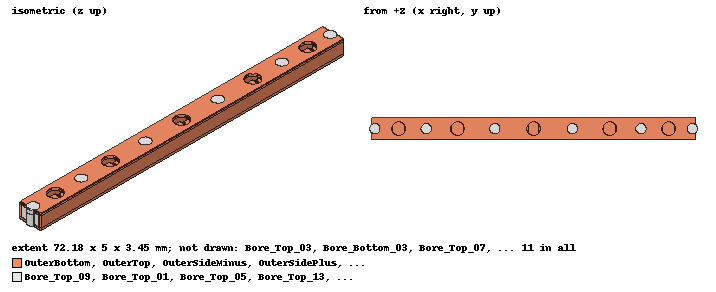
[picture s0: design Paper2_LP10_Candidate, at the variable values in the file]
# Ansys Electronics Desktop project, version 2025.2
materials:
  vacuum: permittivity=1
  copper: permeability=0.999991 conductivity=58000000
  air: permittivity=1.0006 permeability=1.0000004
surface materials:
  Steel-oxidised-surface

design Paper2_LP10_Candidate (HFSS, HFSS Modal Network, model units mm)
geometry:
  OuterBottom [copper] = box(corner=(0mm, -2.5mm, -1.725mm), size=(71.307mm, 5mm, 0.5mm))
  OuterTop [copper] = box(corner=(0mm, -2.5mm, 1.225mm), size=(71.307mm, 5mm, 0.5mm))
  OuterSideMinus [copper] = box(corner=(0mm, -2.5mm, -1.225mm), size=(71.307mm, 0.5mm, 2.45mm))
  OuterSidePlus [copper] = box(corner=(0mm, 2mm, -1.225mm), size=(71.307mm, 0.5mm, 2.45mm))
  CenterSection_01 [copper] = box(corner=(0mm, -1.5mm, -0.15mm), size=(1.431mm, 3mm, 0.3mm))
  CenterSection_02 [copper] = box(corner=(1.431mm, -0.75mm, -0.4mm), size=(3.105mm, 1.5mm, 0.8mm))
  CenterSection_03 [copper] = box(corner=(4.536mm, -1.5mm, -0.15mm), size=(2.7675mm, 3mm, 0.3mm))
  CenterSection_04 [copper] = box(corner=(7.3035mm, -0.75mm, -0.4mm), size=(3.429mm, 1.5mm, 0.8mm))
  CenterSection_05 [copper] = box(corner=(10.7325mm, -1.5mm, -0.15mm), size=(2.5785mm, 3mm, 0.3mm))
  CenterSection_06 [copper] = box(corner=(13.311mm, -0.75mm, -0.4mm), size=(4.266mm, 1.5mm, 0.8mm))
  CenterSection_07 [copper] = box(corner=(17.577mm, -1.5mm, -0.15mm), size=(2.5785mm, 3mm, 0.3mm))
  CenterSection_08 [copper] = box(corner=(20.1555mm, -0.75mm, -0.4mm), size=(5.778mm, 1.5mm, 0.8mm))
  CenterSection_09 [copper] = box(corner=(25.9335mm, -1.5mm, -0.15mm), size=(2.3895mm, 3mm, 0.3mm))
  CenterSection_10 [copper] = box(corner=(28.323mm, -0.75mm, -0.4mm), size=(6.2505mm, 1.5mm, 0.8mm))
  CenterSection_11 [copper] = box(corner=(34.5735mm, -1.5mm, -0.15mm), size=(2.16mm, 3mm, 0.3mm))
  CenterSection_12 [copper] = box(corner=(36.7335mm, -0.75mm, -0.4mm), size=(6.2505mm, 1.5mm, 0.8mm))
  CenterSection_13 [copper] = box(corner=(42.984mm, -1.5mm, -0.15mm), size=(2.3895mm, 3mm, 0.3mm))
  CenterSection_14 [copper] = box(corner=(45.3735mm, -0.75mm, -0.4mm), size=(5.778mm, 1.5mm, 0.8mm))
  CenterSection_15 [copper] = box(corner=(51.1515mm, -1.5mm, -0.15mm), size=(2.5785mm, 3mm, 0.3mm))
  CenterSection_16 [copper] = box(corner=(53.73mm, -0.75mm, -0.4mm), size=(4.266mm, 1.5mm, 0.8mm))
  CenterSection_17 [copper] = box(corner=(57.996mm, -1.5mm, -0.15mm), size=(2.5785mm, 3mm, 0.3mm))
  CenterSection_18 [copper] = box(corner=(60.5745mm, -0.75mm, -0.4mm), size=(3.429mm, 1.5mm, 0.8mm))
  CenterSection_19 [copper] = box(corner=(64.0035mm, -1.5mm, -0.15mm), size=(2.7675mm, 3mm, 0.3mm))
  CenterSection_20 [copper] = box(corner=(66.771mm, -0.75mm, -0.4mm), size=(3.105mm, 1.5mm, 0.8mm))
  CenterSection_21 [copper] = box(corner=(69.876mm, -1.5mm, -0.15mm), size=(1.431mm, 3mm, 0.3mm))
  Bore_Top_01 [air] = cylinder(axis=Z, base_centre=(0.7155mm, 0mm, -0.775mm), radius=1.15mm, height=2.5mm)
  Bore_Bottom_01 [air] = cylinder(axis=Z, base_centre=(0.7155mm, 0mm, -1.725mm), radius=1.15mm, height=2.5mm)
  Bore_Top_03 [air] = cylinder(axis=Z, base_centre=(5.91975mm, 0mm, -0.775mm), radius=1.5mm, height=2.5mm)
  Bore_Bottom_03 [air] = cylinder(axis=Z, base_centre=(5.91975mm, 0mm, -1.725mm), radius=1.5mm, height=2.5mm)
  Bore_Top_05 [air] = cylinder(axis=Z, base_centre=(12.02175mm, 0mm, -0.775mm), radius=1.15mm, height=2.5mm)
  Bore_Bottom_05 [air] = cylinder(axis=Z, base_centre=(12.02175mm, 0mm, -1.725mm), radius=1.15mm, height=2.5mm)
  Bore_Top_07 [air] = cylinder(axis=Z, base_centre=(18.86625mm, 0mm, -0.775mm), radius=1.5mm, height=2.5mm)
  Bore_Bottom_07 [air] = cylinder(axis=Z, base_centre=(18.86625mm, 0mm, -1.725mm), radius=1.5mm, height=2.5mm)
  Bore_Top_09 [air] = cylinder(axis=Z, base_centre=(27.12825mm, 0mm, -0.775mm), radius=1.15mm, height=2.5mm)
  Bore_Bottom_09 [air] = cylinder(axis=Z, base_centre=(27.12825mm, 0mm, -1.725mm), radius=1.15mm, height=2.5mm)
  Bore_Top_11 [air] = cylinder(axis=Z, base_centre=(35.6535mm, 0mm, -0.775mm), radius=1.5mm, height=2.5mm)
  Bore_Bottom_11 [air] = cylinder(axis=Z, base_centre=(35.6535mm, 0mm, -1.725mm), radius=1.5mm, height=2.5mm)
  Bore_Top_13 [air] = cylinder(axis=Z, base_centre=(44.17875mm, 0mm, -0.775mm), radius=1.15mm, height=2.5mm)
  Bore_Bottom_13 [air] = cylinder(axis=Z, base_centre=(44.17875mm, 0mm, -1.725mm), radius=1.15mm, height=2.5mm)
  Bore_Top_15 [air] = cylinder(axis=Z, base_centre=(52.44075mm, 0mm, -0.775mm), radius=1.5mm, height=2.5mm)
  Bore_Bottom_15 [air] = cylinder(axis=Z, base_centre=(52.44075mm, 0mm, -1.725mm), radius=1.5mm, height=2.5mm)
  Bore_Top_17 [air] = cylinder(axis=Z, base_centre=(59.28525mm, 0mm, -0.775mm), radius=1.15mm, height=2.5mm)
  Bore_Bottom_17 [air] = cylinder(axis=Z, base_centre=(59.28525mm, 0mm, -1.725mm), radius=1.15mm, height=2.5mm)
  Bore_Top_19 [air] = cylinder(axis=Z, base_centre=(65.38725mm, 0mm, -0.775mm), radius=1.5mm, height=2.5mm)
  Bore_Bottom_19 [air] = cylinder(axis=Z, base_centre=(65.38725mm, 0mm, -1.725mm), radius=1.5mm, height=2.5mm)
  Bore_Top_21 [air] = cylinder(axis=Z, base_centre=(70.5915mm, 0mm, -0.775mm), radius=1.15mm, height=2.5mm)
  Bore_Bottom_21 [air] = cylinder(axis=Z, base_centre=(70.5915mm, 0mm, -1.725mm), radius=1.15mm, height=2.5mm)
  Bore_Top_01_1 = Bore_Top_01.copy()
  Bore_Bottom_01_1 = Bore_Bottom_01.copy()
  Bore_Top_03_1 = Bore_Top_03.copy()
  Bore_Bottom_03_1 = Bore_Bottom_03.copy()
  Bore_Top_05_1 = Bore_Top_05.copy()
  Bore_Bottom_05_1 = Bore_Bottom_05.copy()
  Bore_Top_07_1 = Bore_Top_07.copy()
  Bore_Bottom_07_1 = Bore_Bottom_07.copy()
  Bore_Top_09_1 = Bore_Top_09.copy()
  Bore_Bottom_09_1 = Bore_Bottom_09.copy()
  Bore_Top_11_1 = Bore_Top_11.copy()
  Bore_Bottom_11_1 = Bore_Bottom_11.copy()
  Bore_Top_13_1 = Bore_Top_13.copy()
  Bore_Bottom_13_1 = Bore_Bottom_13.copy()
  Bore_Top_15_1 = Bore_Top_15.copy()
  Bore_Bottom_15_1 = Bore_Bottom_15.copy()
  Bore_Top_17_1 = Bore_Top_17.copy()
  Bore_Bottom_17_1 = Bore_Bottom_17.copy()
  Bore_Top_19_1 = Bore_Top_19.copy()
  Bore_Bottom_19_1 = Bore_Bottom_19.copy()
  Bore_Top_21_1 = Bore_Top_21.copy()
  Bore_Bottom_21_1 = Bore_Bottom_21.copy()
  OuterBottom.subtract(Bore_Top_01_1, Bore_Bottom_01_1, Bore_Top_03_1, Bore_Bottom_03_1, Bore_Top_05_1, Bore_Bottom_05_1, Bore_Top_07_1, Bore_Bottom_07_1, Bore_Top_09_1, Bore_Bottom_09_1, Bore_Top_11_1, Bore_Bottom_11_1, Bore_Top_13_1, Bore_Bottom_13_1, Bore_Top_15_1, Bore_Bottom_15_1, Bore_Top_17_1, Bore_Bottom_17_1, Bore_Top_19_1, Bore_Bottom_19_1, Bore_Top_21_1, Bore_Bottom_21_1)
  Bore_Top_01_2 = Bore_Top_01.copy()
  Bore_Bottom_01_2 = Bore_Bottom_01.copy()
  Bore_Top_03_2 = Bore_Top_03.copy()
  Bore_Bottom_03_2 = Bore_Bottom_03.copy()
  Bore_Top_05_2 = Bore_Top_05.copy()
  Bore_Bottom_05_2 = Bore_Bottom_05.copy()
  Bore_Top_07_2 = Bore_Top_07.copy()
  Bore_Bottom_07_2 = Bore_Bottom_07.copy()
  Bore_Top_09_2 = Bore_Top_09.copy()
  Bore_Bottom_09_2 = Bore_Bottom_09.copy()
  Bore_Top_11_2 = Bore_Top_11.copy()
  Bore_Bottom_11_2 = Bore_Bottom_11.copy()
  Bore_Top_13_2 = Bore_Top_13.copy()
  Bore_Bottom_13_2 = Bore_Bottom_13.copy()
  Bore_Top_15_2 = Bore_Top_15.copy()
  Bore_Bottom_15_2 = Bore_Bottom_15.copy()
  Bore_Top_17_2 = Bore_Top_17.copy()
  Bore_Bottom_17_2 = Bore_Bottom_17.copy()
  Bore_Top_19_2 = Bore_Top_19.copy()
  Bore_Bottom_19_2 = Bore_Bottom_19.copy()
  Bore_Top_21_2 = Bore_Top_21.copy()
  Bore_Bottom_21_2 = Bore_Bottom_21.copy()
  OuterTop.subtract(Bore_Top_01_2, Bore_Bottom_01_2, Bore_Top_03_2, Bore_Bottom_03_2, Bore_Top_05_2, Bore_Bottom_05_2, Bore_Top_07_2, Bore_Bottom_07_2, Bore_Top_09_2, Bore_Bottom_09_2, Bore_Top_11_2, Bore_Bottom_11_2, Bore_Top_13_2, Bore_Bottom_13_2, Bore_Top_15_2, Bore_Bottom_15_2, Bore_Top_17_2, Bore_Bottom_17_2, Bore_Top_19_2, Bore_Bottom_19_2, Bore_Top_21_2, Bore_Bottom_21_2)
  Bore_Top_01_3 = Bore_Top_01.copy()
  Bore_Bottom_01_3 = Bore_Bottom_01.copy()
  Bore_Top_03_3 = Bore_Top_03.copy()
  Bore_Bottom_03_3 = Bore_Bottom_03.copy()
  Bore_Top_05_3 = Bore_Top_05.copy()
  Bore_Bottom_05_3 = Bore_Bottom_05.copy()
  Bore_Top_07_3 = Bore_Top_07.copy()
  Bore_Bottom_07_3 = Bore_Bottom_07.copy()
  Bore_Top_09_3 = Bore_Top_09.copy()
  Bore_Bottom_09_3 = Bore_Bottom_09.copy()
  Bore_Top_11_3 = Bore_Top_11.copy()
  Bore_Bottom_11_3 = Bore_Bottom_11.copy()
  Bore_Top_13_3 = Bore_Top_13.copy()
  Bore_Bottom_13_3 = Bore_Bottom_13.copy()
  Bore_Top_15_3 = Bore_Top_15.copy()
  Bore_Bottom_15_3 = Bore_Bottom_15.copy()
  Bore_Top_17_3 = Bore_Top_17.copy()
  Bore_Bottom_17_3 = Bore_Bottom_17.copy()
  Bore_Top_19_3 = Bore_Top_19.copy()
  Bore_Bottom_19_3 = Bore_Bottom_19.copy()
  Bore_Top_21_3 = Bore_Top_21.copy()
  Bore_Bottom_21_3 = Bore_Bottom_21.copy()
  OuterSideMinus.subtract(Bore_Top_01_3, Bore_Bottom_01_3, Bore_Top_03_3, Bore_Bottom_03_3, Bore_Top_05_3, Bore_Bottom_05_3, Bore_Top_07_3, Bore_Bottom_07_3, Bore_Top_09_3, Bore_Bottom_09_3, Bore_Top_11_3, Bore_Bottom_11_3, Bore_Top_13_3, Bore_Bottom_13_3, Bore_Top_15_3, Bore_Bottom_15_3, Bore_Top_17_3, Bore_Bottom_17_3, Bore_Top_19_3, Bore_Bottom_19_3, Bore_Top_21_3, Bore_Bottom_21_3)
  Bore_Top_01_4 = Bore_Top_01.copy()
  Bore_Bottom_01_4 = Bore_Bottom_01.copy()
  Bore_Top_03_4 = Bore_Top_03.copy()
  Bore_Bottom_03_4 = Bore_Bottom_03.copy()
  Bore_Top_05_4 = Bore_Top_05.copy()
  Bore_Bottom_05_4 = Bore_Bottom_05.copy()
  Bore_Top_07_4 = Bore_Top_07.copy()
  Bore_Bottom_07_4 = Bore_Bottom_07.copy()
  Bore_Top_09_4 = Bore_Top_09.copy()
  Bore_Bottom_09_4 = Bore_Bottom_09.copy()
  Bore_Top_11_4 = Bore_Top_11.copy()
  Bore_Bottom_11_4 = Bore_Bottom_11.copy()
  Bore_Top_13_4 = Bore_Top_13.copy()
  Bore_Bottom_13_4 = Bore_Bottom_13.copy()
  Bore_Top_15_4 = Bore_Top_15.copy()
  Bore_Bottom_15_4 = Bore_Bottom_15.copy()
  Bore_Top_17_4 = Bore_Top_17.copy()
  Bore_Bottom_17_4 = Bore_Bottom_17.copy()
  Bore_Top_19_4 = Bore_Top_19.copy()
  Bore_Bottom_19_4 = Bore_Bottom_19.copy()
  Bore_Top_21_4 = Bore_Top_21.copy()
  Bore_Bottom_21_4 = Bore_Bottom_21.copy()
  OuterSidePlus.subtract(Bore_Top_01_4, Bore_Bottom_01_4, Bore_Top_03_4, Bore_Bottom_03_4, Bore_Top_05_4, Bore_Bottom_05_4, Bore_Top_07_4, Bore_Bottom_07_4, Bore_Top_09_4, Bore_Bottom_09_4, Bore_Top_11_4, Bore_Bottom_11_4, Bore_Top_13_4, Bore_Bottom_13_4, Bore_Top_15_4, Bore_Bottom_15_4, Bore_Top_17_4, Bore_Bottom_17_4, Bore_Top_19_4, Bore_Bottom_19_4, Bore_Top_21_4, Bore_Bottom_21_4)
  AirInterior [air] = box(corner=(0mm, -2mm, -1.225mm), size=(71.307mm, 4mm, 2.45mm))
  CenterSection_01_1 = CenterSection_01.copy()
  CenterSection_02_1 = CenterSection_02.copy()
  CenterSection_03_1 = CenterSection_03.copy()
  CenterSection_04_1 = CenterSection_04.copy()
  CenterSection_05_1 = CenterSection_05.copy()
  CenterSection_06_1 = CenterSection_06.copy()
  CenterSection_07_1 = CenterSection_07.copy()
  CenterSection_08_1 = CenterSection_08.copy()
  CenterSection_09_1 = CenterSection_09.copy()
  CenterSection_10_1 = CenterSection_10.copy()
  CenterSection_11_1 = CenterSection_11.copy()
  CenterSection_12_1 = CenterSection_12.copy()
  CenterSection_13_1 = CenterSection_13.copy()
  CenterSection_14_1 = CenterSection_14.copy()
  CenterSection_15_1 = CenterSection_15.copy()
  CenterSection_16_1 = CenterSection_16.copy()
  CenterSection_17_1 = CenterSection_17.copy()
  CenterSection_18_1 = CenterSection_18.copy()
  CenterSection_19_1 = CenterSection_19.copy()
  CenterSection_20_1 = CenterSection_20.copy()
  CenterSection_21_1 = CenterSection_21.copy()
  AirInterior.subtract(CenterSection_01_1, CenterSection_02_1, CenterSection_03_1, CenterSection_04_1, CenterSection_05_1, CenterSection_06_1, CenterSection_07_1, CenterSection_08_1, CenterSection_09_1, CenterSection_10_1, CenterSection_11_1, CenterSection_12_1, CenterSection_13_1, CenterSection_14_1, CenterSection_15_1, CenterSection_16_1, CenterSection_17_1, CenterSection_18_1, CenterSection_19_1, CenterSection_20_1, CenterSection_21_1)
  Port1Sheet = rectangle(corner=(0mm, -2mm, -1.225mm), y_size=4mm, z_size=2.45mm)
  Port2Sheet = rectangle(corner=(71.307mm, -2mm, -1.225mm), y_size=4mm, z_size=2.45mm)
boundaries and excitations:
  Port1: Wave Port Objects=Port1Sheet WavePortType=Modal NumModes=1 Modes{Mode1{CharImp=Zpi RenormImp=50ohm}}
  Port2: Wave Port Objects=Port2Sheet WavePortType=Modal NumModes=1 Modes{Mode1{CharImp=Zpi RenormImp=50ohm}}
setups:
  Setup1: HfssDriven Frequency=10GHz MaxDeltaS=0.02 MaximumPasses=15 MinimumPasses=3 MinimumConvergedPasses=2 PercentRefinement=30 BasisOrder=1 PortAccuracy=2 DrivenSolverType="Direct Solver"
    sweep Sweep1: 0.1GHz to 40GHz, 401 points; Type=Interpolating InterpTolerance=0.5 InterpMaxSolns=250 InterpUsePortImped=false PassivityErrorTolerance=0.0001
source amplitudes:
  Port1:1: 1W 0deg
  Port2:1: 0W 0deg
